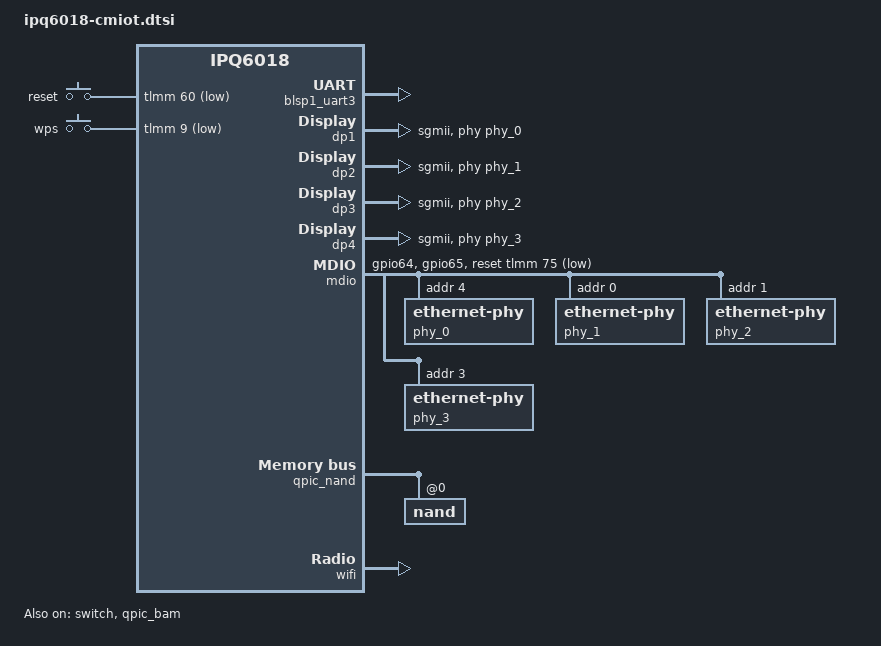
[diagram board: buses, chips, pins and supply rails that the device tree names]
// SPDX-License-Identifier: (GPL-2.0+)

/dts-v1/;

#include "ipq6018.dtsi"
#include "ipq6018-upstreamable.dtsi"
#include "ipq6018-ess.dtsi"

#include <dt-bindings/input/input.h>
#include <dt-bindings/gpio/gpio.h>

/ {
	qcom,msm-id = <0x192 0x0>;
	
	aliases {
		serial0 = &blsp1_uart3;

		/* Aliases as required by u-boot to patch MAC addresses */
		ethernet0 = &dp1;
		ethernet1 = &dp2;
		ethernet2 = &dp3;
		ethernet3 = &dp4;
	};

	chosen {
		bootargs-append = " root=/dev/ubiblock0_1 swiotlb=1";
	};

	keys {
		compatible = "gpio-keys";

		reset {
			label = "reset";
			gpios = <&tlmm 60 GPIO_ACTIVE_LOW>;
			linux,code = <KEY_RESTART>;
		};

		wps {
			label = "wps";
			gpios = <&tlmm 9 GPIO_ACTIVE_LOW>;
			linux,code = <KEY_WPS_BUTTON>;
		};
	};
};

&blsp1_uart3 {
	pinctrl-0 = <&serial_3_pins>;
	pinctrl-names = "default";
	status = "okay";
};

&tlmm {
	mdio_pins: mdio-pins {
		mdc {
			pins = "gpio64";
			function = "mdc";
			drive-strength = <8>;
			bias-pull-up;
		};

		mdio {
			pins = "gpio65";
			function = "mdio";
			drive-strength = <8>;
			bias-pull-up;
		};
	};

    button_pins: button_pins {
		wps_button {
			pins = "gpio9";
			function = "gpio";
			drive-strength = <8>;
			bias-pull-up;
		};

		reset_button {
			pins = "gpio60";
			function = "gpio";
			drive-strength = <8>;
			bias-pull-up;
		};
	};
};

&soc {
	dp1: dp@1 {
		compatible = "qcom,nss-dp";
		reg = <0x0 0x3a001000 0x0 0x200>;
		qcom,mactype = <0>;
		qcom,id = <5>;
		local-mac-address = [000000000000];
		phy-handle = <&phy_0>;
		phy-mode = "sgmii";
	};

	dp2: dp2 {
		compatible = "qcom,nss-dp";
		reg = <0x0 0x3a001200 0x0 0x200>;
		qcom,mactype = <0>;
		qcom,id = <1>;
		local-mac-address = [000000000000];
		phy-handle = <&phy_1>;
		phy-mode = "sgmii";
	};

	dp3: dp3 {
		compatible = "qcom,nss-dp";
		reg = <0x0 0x3a001400 0x0 0x200>;
		qcom,mactype = <0>;
		qcom,id = <2>;
		local-mac-address = [000000000000];
		phy-handle = <&phy_2>;
		phy-mode = "sgmii";
	};

	dp4: dp4 {
		compatible = "qcom,nss-dp";
		reg = <0x0 0x3a001600 0x0 0x200>;
		qcom,mactype = <0>;
		qcom,id = <4>;
		local-mac-address = [000000000000];
		phy-handle = <&phy_3>;
		phy-mode = "sgmii";
	};
};

&edma {
	status = "okay";
};

&mdio {
	status = "okay";
	pinctrl-0 = <&mdio_pins>;
	pinctrl-names = "default";
	reset-gpios = <&tlmm 75 GPIO_ACTIVE_LOW>;

	phy_0: ethernet-phy@0 {
		reg = <4>;
	};

	phy_1: ethernet-phy@1 {
		reg = <0>;
	};

	phy_2: ethernet-phy@2 {
		reg = <1>;
	};

	phy_3: ethernet-phy@3 {
		reg = <3>;
	};
};

&switch {
	status = "okay";

	switch_mac_mode = <0x0>; /* mac mode for uniphy instance0*/
	switch_mac_mode1 = <0xff>; /* mac mode for uniphy instance1*/
	switch_mac_mode2 = <0xff>; /* mac mode for uniphy instance2*/

	qcom,port_phyinfo {
		port@0 {
			port_id = <0x01>;
			phy_address = <0x00>;
		};
		port@1 {
			port_id = <0x02>;
			phy_address = <0x01>;
		};
		port@2 {
			port_id = <0x04>;
			phy_address = <0x03>;
		};
		port@3 {
			port_id = <0x05>;
			phy_address = <0x04>;
		};
	};
};

&qpic_bam {
	status = "okay";
};

&qpic_nand {
	status = "okay";

	nand@0 {
		reg = <0>;

		nand-ecc-strength = <4>;
		nand-ecc-step-size = <512>;
		nand-bus-width = <8>;
	};
};

&wifi {
	status = "okay";
};
